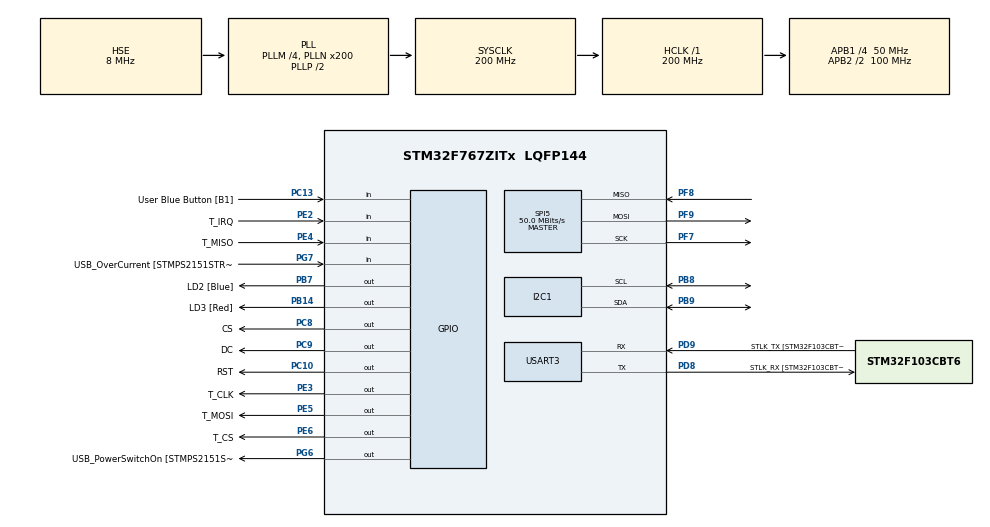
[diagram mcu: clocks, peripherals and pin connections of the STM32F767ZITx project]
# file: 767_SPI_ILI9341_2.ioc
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CORTEX_M7.ART_ACCLERATOR_ENABLE=1
CORTEX_M7.CPU_DCache=Enabled
CORTEX_M7.CPU_ICache=Enabled
CORTEX_M7.PREFETCH_ENABLE=1
I2C1.Timing=0x00C0EAFF
Mcu.Family=STM32F7
Mcu.Name=STM32F767ZITx
Mcu.Package=LQFP144
NVIC.PriorityGroup=NVIC_PRIORITYGROUP_4
PA1.GPIO_Label=RMII_REF_CLK [LAN8742A-CZ-TR_REFCLK0]
PA1.Signal=ETH_REF_CLK
PA13.GPIO_Label=TMS
PA13.Mode=Serial_Wire
PA13.Signal=SYS_JTMS-SWDIO
PA14.GPIO_Label=TCK
PA14.Mode=Serial_Wire
PA14.Signal=SYS_JTCK-SWCLK
PA2.GPIO_Label=RMII_MDIO [LAN8742A-CZ-TR_MDIO]
PA2.Signal=ETH_MDIO
PA7.GPIO_Label=RMII_CRS_DV [LAN8742A-CZ-TR_CRS_DV]
PA7.Signal=ETH_CRS_DV
PB13.GPIO_Label=RMII_TXD1 [LAN8742A-CZ-TR_TXD1]
PB13.Signal=ETH_TXD1
PB14.GPIO_Label=LD3 [Red]
PB14.Signal=GPIO_Output
PB3.GPIO_Label=SWO
PB3.Signal=SYS_JTDO-SWO
PB7.GPIO_Label=LD2 [Blue]
PB7.Signal=GPIO_Output
PB8.Mode=I2C
PB8.Signal=I2C1_SCL
PB9.Mode=I2C
PB9.Signal=I2C1_SDA
PC1.GPIO_Label=RMII_MDC [LAN8742A-CZ-TR_MDC]
PC1.Signal=ETH_MDC
PC10.GPIO_Label=RST
PC10.GPIO_Speed=GPIO_SPEED_FREQ_VERY_HIGH
PC10.Signal=GPIO_Output
PC13.GPIO_Label=User Blue Button [B1]
PC13.Signal=GPIO_Input
PC14/OSC32_IN.Mode=LSE-External-Oscillator
PC14/OSC32_IN.Signal=RCC_OSC32_IN
PC15/OSC32_OUT.Mode=LSE-External-Oscillator
PC15/OSC32_OUT.Signal=RCC_OSC32_OUT
PC4.GPIO_Label=RMII_RXD0 [LAN8742A-CZ-TR_RXD0]
PC4.Signal=ETH_RXD0
PC5.GPIO_Label=RMII_RXD1 [LAN8742A-CZ-TR_RXD1]
PC5.Signal=ETH_RXD1
PC8.GPIO_Label=CS
PC8.GPIO_Speed=GPIO_SPEED_FREQ_VERY_HIGH
PC8.Signal=GPIO_Output
PC9.GPIO_Label=DC
PC9.GPIO_Speed=GPIO_SPEED_FREQ_VERY_HIGH
PC9.Signal=GPIO_Output
PD8.GPIO_Label=STLK_RX [STM32F103CBT6_PA3]
PD8.Mode=Asynchronous
PD8.Signal=USART3_TX
PD9.GPIO_Label=STLK_TX [STM32F103CBT6_PA2]
PD9.Mode=Asynchronous
PD9.Signal=USART3_RX
PE2.GPIO_Label=T_IRQ
PE2.Signal=GPIO_Input
PE3.GPIO_Label=T_CLK
PE3.GPIO_Speed=GPIO_SPEED_FREQ_VERY_HIGH
PE3.Signal=GPIO_Output
PE4.GPIO_Label=T_MISO
PE4.Signal=GPIO_Input
PE5.GPIO_Label=T_MOSI
PE5.GPIO_Speed=GPIO_SPEED_FREQ_VERY_HIGH
PE5.Signal=GPIO_Output
PE6.GPIO_Label=T_CS
PE6.GPIO_Speed=GPIO_SPEED_FREQ_VERY_HIGH
PE6.Signal=GPIO_Output
PF7.Mode=Full_Duplex_Master
PF7.Signal=SPI5_SCK
PF8.Mode=Full_Duplex_Master
PF8.Signal=SPI5_MISO
PF9.Mode=Full_Duplex_Master
PF9.Signal=SPI5_MOSI
PG11.GPIO_Label=RMII_TX_EN [LAN8742A-CZ-TR_TXEN]
PG11.Signal=ETH_TX_EN
PG13.GPIO_Label=RMII_TXD0 [LAN8742A-CZ-TR_TXD0]
PG13.Signal=ETH_TXD0
PG6.GPIO_Label=USB_PowerSwitchOn [STMPS2151STR_EN]
PG6.Signal=GPIO_Output
PG7.GPIO_Label=USB_OverCurrent [STMPS2151STR_FAULT]
PG7.Signal=GPIO_Input
PH0/OSC_IN.GPIO_Label=MCO [STM32F103CBT6_PA8]
PH0/OSC_IN.Mode=HSE-External-Clock-Source
PH0/OSC_IN.Signal=RCC_OSC_IN
PH1/OSC_OUT.Mode=HSE-External-Clock-Source
PH1/OSC_OUT.Signal=RCC_OSC_OUT
ProjectManager.HeapSize=0x200
ProjectManager.StackSize=0x400
ProjectManager.TargetToolchain=STM32CubeIDE
RCC.48MHZClocksFreq_Value=24000000
RCC.AHBFreq_Value=200000000
RCC.APB1CLKDivider=RCC_HCLK_DIV4
RCC.APB1Freq_Value=50000000
RCC.APB1TimFreq_Value=100000000
RCC.APB2CLKDivider=RCC_HCLK_DIV2
RCC.APB2Freq_Value=100000000
RCC.APB2TimFreq_Value=200000000
RCC.CortexFreq_Value=200000000
RCC.HCLKFreq_Value=200000000
RCC.HSE_VALUE=8000000
RCC.HSI_VALUE=16000000
RCC.PLLM=4
RCC.PLLMUL=RCC_PLL_MUL9
RCC.PLLN=200
RCC.PLLQ=9
RCC.PLLSourceVirtual=RCC_PLLSOURCE_HSE
RCC.PRESCALERUSB=RCC_USBCLKSOURCE_PLL_DIV1_5
RCC.SYSCLKFreq_VALUE=200000000
RCC.SYSCLKSource=RCC_SYSCLKSOURCE_PLLCLK
RCC.SYSCLKSourceVirtual=RCC_SYSCLKSOURCE_PLLCLK
RCC.USBFreq_Value=44444444.44444445
RCC.VCOOutputFreq_Value=400000000
SPI5.CalculateBaudRate=50.0 MBits/s
SPI5.DataSize=SPI_DATASIZE_8BIT
SPI5.Direction=SPI_DIRECTION_2LINES
SPI5.Mode=SPI_MODE_MASTER
SPI5.NSSPMode=SPI_NSS_PULSE_DISABLE
SPI5.VirtualType=VM_MASTER
TIM1.ClockDivision=TIM_CLOCKDIVISION_DIV1
TIM1.Period=65536-1
TIM1.Prescaler=20000-1
USART3.VirtualMode-Asynchronous=VM_ASYNC
VP_RNG_VS_RNG.Mode=RNG_Activate
VP_TIM1_VS_ClockSourceINT.Mode=Internal
board=NUCLEO-F767ZI

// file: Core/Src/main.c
/* USER CODE BEGIN Header */

/**

  ******************************************************************************

  * @file           : main.c

  * @brief          : Main program body

  ******************************************************************************

  * @attention

  *

  * <h2><center>&copy; Copyright (c) 2021 STMicroelectronics.

  * All rights reserved.</center></h2>

  *

  * This software component is licensed by ST under BSD 3-Clause license,

  * the "License"; You may not use this file except in compliance with the

  * License. You may obtain a copy of the License at:

  * opensource.org/licenses/BSD-3-Clause

  *

  ******************************************************************************

  */

/* USER CODE END Header */
#include "main.h"
#include "i2c.h"
#include "rng.h"
#include "spi.h"
#include "tim.h"
#include "usart.h"
#include "gpio.h"

/* USER CODE BEGIN Includes */

#include "stdio.h"

#include "ILI9341_Touchscreen.h"

#include "ILI9341_STM32_Driver.h"

#include "ILI9341_GFX.h"

#include "snow_tiger.h"

/* USER CODE END Includes */

/* USER CODE BEGIN PV */

/* Private variables ---------------------------------------------------------*/

// Global Variables for Colors to be used in helper functions

uint16_t COL_MIX   = 0xC418;

uint16_t COL_LT_RED   = 0xFDB8;

uint16_t COL_LT_GREEN = 0xCFFA;

uint16_t COL_LT_BLUE  = 0xBDF7;

// Variables to store current percentages

uint8_t val_red = 100; // อิงจากหน้าจอที่คุณส่งมา
uint8_t val_green = 50;
uint8_t val_blue = 70;
float h=30.0, t=40.0; // เก็บค่า Humidity และ Temperature
uint8_t dataBuffer[8];
uint8_t cmdBuffer[3];
char str[50];

/* USER CODE END PV */

void SystemClock_Config(void);
/* USER CODE BEGIN PFP */

/* Private function prototypes -----------------------------------------------*/

void Update_Bar(uint16_t y_center, uint16_t color_fill, uint16_t color_bg, uint8_t percentage);
uint16_t CRC16_2(uint8_t *ptr, uint8_t len);
uint16_t Mix_RGB565(uint8_t r_pct, uint8_t g_pct, uint8_t b_pct);
/* USER CODE END PFP */

/* USER CODE BEGIN 0 */

/*

 * Helper Function: Updates the Progress Bar and Text

 * y_center: The Y coordinate of the circle (row center)

 * color_fill: Active color (RED, GREEN, BLUE)

 * color_bg: Background color (Light versions)

 * percentage: 0-100

 */

void Update_Bar(uint16_t y_center, uint16_t color_fill, uint16_t color_bg, uint8_t percentage)

{

	// Calculate Dimensions

	// Total bar width = 150px (from X=60 to X=210)

	uint16_t total_width = 150;

	uint16_t filled_width = (total_width * percentage) / 100;

	uint16_t empty_width = total_width - filled_width;

	uint16_t bar_y_start = y_center - 15; // Box height 30, so center - 15

	// 1. Draw Filled Part

	if(filled_width > 0) {

		ILI9341_Draw_Rectangle(60, bar_y_start, filled_width, 30, color_fill);

	}

	// 2. Draw Empty Part

	if(empty_width > 0) {

		ILI9341_Draw_Rectangle(60 + filled_width, bar_y_start, empty_width, 30, color_bg);

	}

	// 3. Update Text

	// Clear previous text area first (White rectangle behind text)
	// พิกัด X=220 ปลอดภัยจากอาการ Wrap-around แน่นอน

	ILI9341_Draw_Filled_Rectangle_Coord(220, y_center-10, 319, y_center+15, WHITE);

	char buf[10];

	sprintf(buf, "%d%%", percentage);

	ILI9341_Draw_Text(buf, 220, y_center-2, BLACK, 1.8, WHITE); // ปรับ size เป็น 2 ให้ตรงสเปคไลบรารี่

}

uint16_t Mix_RGB565(uint8_t r_pct, uint8_t g_pct, uint8_t b_pct) {
    // แปลง 0-100 เป็นช่วง 0-31 (สำหรับ Red/Blue) และ 0-63 (สำหรับ Green)
    uint16_t r = (r_pct * 31) / 100;
    uint16_t g = (g_pct * 63) / 100;
    uint16_t b = (b_pct * 31) / 100;

    // รวมค่าเข้าด้วยกันตามโครงสร้าง RGB565: [RRRRRGGGGGGBBBBB]
    return (uint16_t)((r << 11) | (g << 5) | b);
}

/* USER CODE END 0 */

int main(void)
{

  /* Enable the CPU Cache */

  /* Enable I-Cache---------------------------------------------------------*/
  SCB_EnableICache();

  /* Enable D-Cache---------------------------------------------------------*/
  SCB_EnableDCache();

  /* MCU Configuration--------------------------------------------------------*/

  /* Reset of all peripherals, Initializes the Flash interface and the Systick. */
  HAL_Init();

  /* Configure the system clock */
  SystemClock_Config();

  /* Initialize all configured peripherals */
  MX_GPIO_Init();
  MX_USART3_UART_Init();
  MX_SPI5_Init();
  MX_TIM1_Init();
  MX_RNG_Init();
  MX_I2C1_Init();
  /* USER CODE BEGIN 2 */

  ILI9341_Init();//initial driver setup to drive ili9341
  cmdBuffer[0] = 0x03; // Read Function
  cmdBuffer[1] = 0x00; // Start Address
  cmdBuffer[2] = 0x04; // Read 4 Registers (T & H)
  /* USER CODE END 2 */

  /* Infinite loop */
  while (1)
  {

    /* USER CODE BEGIN 3 */

	  // ---------------------------------------------------------

	  // INITIAL UI DRAWING (Static Parts)

	  // ---------------------------------------------------------

	  ILI9341_Fill_Screen(WHITE);

	  ILI9341_Set_Rotation(SCREEN_HORIZONTAL_1);

	  // --- TOP ROW ---
	  COL_MIX = Mix_RGB565(val_red, val_green, val_blue);
	  ILI9341_Draw_Filled_Circle(120, 35, 20, COL_MIX);

	  // --- ROW 1: RED (Initial) ---

	  ILI9341_Draw_Filled_Circle(30, 90, 15, RED);

	  Update_Bar(90, RED, COL_LT_RED, val_red);

	  // --- ROW 2: GREEN (Initial) ---

	  ILI9341_Draw_Filled_Circle(30, 145, 15, GREEN);

	  Update_Bar(145, GREEN, COL_LT_GREEN, val_green);

	  // --- ROW 3: BLUE (Initial) ---

	  ILI9341_Draw_Filled_Circle(30, 200, 15, BLUE);

	  Update_Bar(200, BLUE, COL_LT_BLUE, val_blue);

	  // ---------------------------------------------------------

	  // TOUCH LOOP

	  // ---------------------------------------------------------
	  uint32_t last_sensor_time = 0;
	  while(1)

	  {
		  if (HAL_GetTick() - last_sensor_time > 3000) {

				  // --- ส่วนของอาจารย์: อ่านค่าจาก I2C ---
				  HAL_I2C_Master_Transmit(&hi2c1, 0x5c<<1, cmdBuffer, 3, 200); // Wake up
				  HAL_I2C_Master_Transmit(&hi2c1, 0x5c<<1, cmdBuffer, 3, 200); // Send command
				  HAL_Delay(1);
				  HAL_I2C_Master_Receive(&hi2c1, 0x5c<<1, dataBuffer, 8, 200); // Receive data

				  uint16_t Rcrc = dataBuffer[7] << 8 | dataBuffer[6];
				  if (Rcrc == CRC16_2(dataBuffer, 6)) {
					  // คำนวณค่า Temp
					  uint16_t temperature = ((dataBuffer[4] & 0x7F) << 8) + dataBuffer[5];
					  t = temperature / 10.0;
					  if ((dataBuffer[4] & 0x80) >> 7 == 1) t *= -1;

					  // คำนวณค่า Humid
					  uint16_t humidity = (dataBuffer[2] << 8) + dataBuffer[3];
					  h = humidity / 10.0;

					  // --- ส่วนแสดงผลบนหน้าจอ TFT ---
					  // 1. เคลียร์ค่าเก่า (วาดสี่เหลี่ยมขาวทับ)
					  ILI9341_Draw_Filled_Rectangle_Coord(10, 20, 90, 50, WHITE);   // พื้นที่ Temp
					  ILI9341_Draw_Filled_Rectangle_Coord(160, 20, 310, 50, WHITE);  // พื้นที่ Humid

					  // 2. พิมพ์ค่าใหม่ลงไป (ใช้ %.1f ตามของเดิมคุณได้เลย)
					  char t_str[15], h_str[15];
					  sprintf(t_str, "%.1f C", t);
					  sprintf(h_str, "%.1f %%RH", h);

					  ILI9341_Draw_Text(t_str, 10, 25, BLACK, 2, WHITE);
					  ILI9341_Draw_Text(h_str, 160, 25, BLACK, 2, WHITE);
				  }
				  last_sensor_time = HAL_GetTick();
			  }

		  // Poll for touch

		  if(TP_Touchpad_Pressed())

		  {

			  HAL_GPIO_WritePin(GPIOB, LD3_Pin|LD2_Pin, GPIO_PIN_SET);

			  uint16_t pos[2];

			  // Read Coordinates (Assumes Library returns mapped X/Y)

			  if(TP_Read_Coordinates(pos) == TOUCHPAD_DATA_OK)

			  {

				  uint16_t x = pos[1];

				  uint16_t y = pos[0];

				  // --- CHECK HITBOXES ---

				  // Circles are at X=30. We check touch X between 0 and 60.

				  // Note: Adjust '60' if touch calibration is slightly off.

//				  char debug_msg[30];
				      // ล้างพื้นที่เก่าก่อนวาด (วาดสี่เหลี่ยมสีขาวทับบริเวณที่จะโชว์ตัวเลข)
				  // สร้างข้อความ X, Y
//				  sprintf(debug_msg, "X:%d Y:%d", x, y);
//
//				  // วาดลงบนมุมขวาบนของจอ (หรือจุดที่ว่าง)
//				  ILI9341_Draw_Text(debug_msg, 160, 120, BLUE, 1, WHITE);

				  if (x < 45) // User touched the Left side (Button area)

				  {

					  // 1. RED BUTTON (Center Y=90) -> Hitbox 70 to 110

					  // --- 1. RED BUTTON ---
					  if (y > 140 && y < 170) {
					      val_red += 10;
					      if(val_red > 100) val_red = 0;
					      Update_Bar(90, RED, COL_LT_RED, val_red);

					      // อัปเดตสีม่วง (ตัวผสม)
					      COL_MIX = Mix_RGB565(val_red, val_green, val_blue);
					      ILI9341_Draw_Filled_Circle(120, 35, 20, COL_MIX);

					      HAL_Delay(200);
					  }

					  // --- 2. GREEN BUTTON ---
					  else if (y > 90 && y < 120) {
					      val_green += 10;
					      if(val_green > 100) val_green = 0;
					      Update_Bar(145, GREEN, COL_LT_GREEN, val_green);

					      // อัปเดตสีม่วง (ตัวผสม)
					      COL_MIX = Mix_RGB565(val_red, val_green, val_blue);
					      ILI9341_Draw_Filled_Circle(120, 35, 20, COL_MIX);

					      HAL_Delay(200);
					  }

					  // --- 3. BLUE BUTTON ---
					  else if (y > 30 && y < 60) {
					      val_blue += 10;
					      if(val_blue > 100) val_blue = 0;
					      Update_Bar(200, BLUE, COL_LT_BLUE, val_blue);

					      // อัปเดตสีม่วง (ตัวผสม)
					      COL_MIX = Mix_RGB565(val_red, val_green, val_blue);
					      ILI9341_Draw_Filled_Circle(120, 35, 20, COL_MIX);

					      HAL_Delay(200);
					  }

				  }

			  }

		  }

		  else

		  {

			  HAL_GPIO_WritePin(GPIOB, LD3_Pin|LD2_Pin, GPIO_PIN_RESET);

		  }

		  // Small delay to prevent CPU hogging

		  HAL_Delay(10);

	  }

  }

  /* USER CODE END 3 */
}

void SystemClock_Config(void)
{
  RCC_OscInitTypeDef RCC_OscInitStruct = {0};
  RCC_ClkInitTypeDef RCC_ClkInitStruct = {0};

  /** Configure LSE Drive Capability
  */
  HAL_PWR_EnableBkUpAccess();

  /** Configure the main internal regulator output voltage
  */
  __HAL_RCC_PWR_CLK_ENABLE();
  __HAL_PWR_VOLTAGESCALING_CONFIG(PWR_REGULATOR_VOLTAGE_SCALE1);

  /** Initializes the RCC Oscillators according to the specified parameters
  * in the RCC_OscInitTypeDef structure.
  */
  RCC_OscInitStruct.OscillatorType = RCC_OSCILLATORTYPE_HSE;
  RCC_OscInitStruct.HSEState = RCC_HSE_BYPASS;
  RCC_OscInitStruct.PLL.PLLState = RCC_PLL_ON;
  RCC_OscInitStruct.PLL.PLLSource = RCC_PLLSOURCE_HSE;
  RCC_OscInitStruct.PLL.PLLM = 4;
  RCC_OscInitStruct.PLL.PLLN = 200;
  RCC_OscInitStruct.PLL.PLLP = RCC_PLLP_DIV2;
  RCC_OscInitStruct.PLL.PLLQ = 9;
  RCC_OscInitStruct.PLL.PLLR = 2;
  if (HAL_RCC_OscConfig(&RCC_OscInitStruct) != HAL_OK)
  {
    Error_Handler();
  }

  /** Activate the Over-Drive mode
  */
  if (HAL_PWREx_EnableOverDrive() != HAL_OK)
  {
    Error_Handler();
  }

  /** Initializes the CPU, AHB and APB buses clocks
  */
  RCC_ClkInitStruct.ClockType = RCC_CLOCKTYPE_HCLK|RCC_CLOCKTYPE_SYSCLK
                              |RCC_CLOCKTYPE_PCLK1|RCC_CLOCKTYPE_PCLK2;
  RCC_ClkInitStruct.SYSCLKSource = RCC_SYSCLKSOURCE_PLLCLK;
  RCC_ClkInitStruct.AHBCLKDivider = RCC_SYSCLK_DIV1;
  RCC_ClkInitStruct.APB1CLKDivider = RCC_HCLK_DIV4;
  RCC_ClkInitStruct.APB2CLKDivider = RCC_HCLK_DIV2;

  if (HAL_RCC_ClockConfig(&RCC_ClkInitStruct, FLASH_LATENCY_6) != HAL_OK)
  {
    Error_Handler();
  }
}

/* USER CODE BEGIN 4 */
uint16_t CRC16_2(uint8_t *ptr, uint8_t length)
{
    uint16_t crc = 0xFFFF; //
    uint8_t s = 0x00;      //
    while (length--)
    {
        crc ^= *ptr++;     //
        for (s = 0; s < 8; s++)
        {
            if ((crc & 0x01) != 0)
            {
                crc >>= 1;   //
                crc ^= 0xA001; //
            }
            else crc >>= 1;  //
        }
    }
    return crc; //
}

/* USER CODE END 4 */

void Error_Handler(void)
{
  while(1)
  {
  }
}
